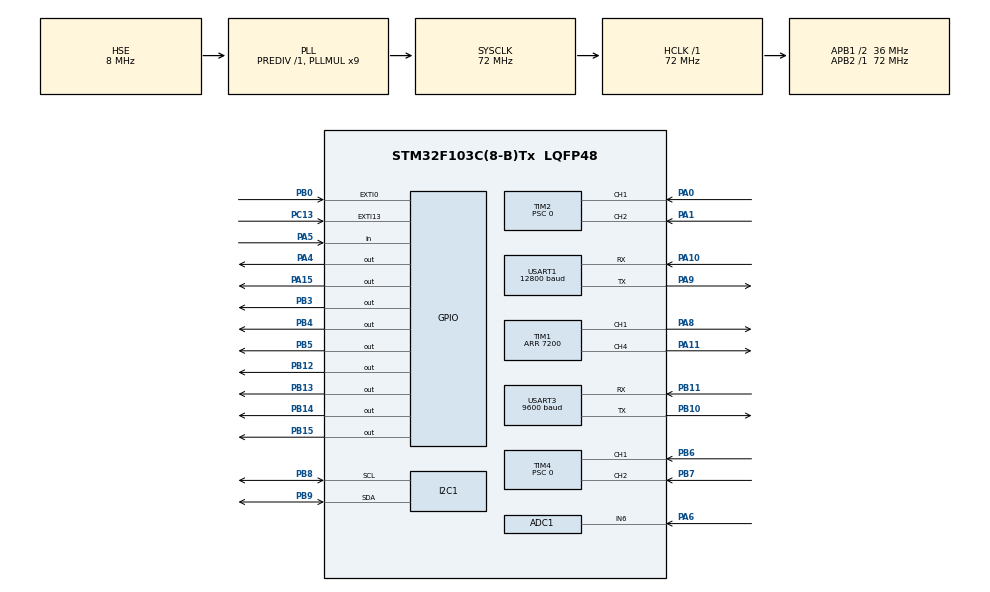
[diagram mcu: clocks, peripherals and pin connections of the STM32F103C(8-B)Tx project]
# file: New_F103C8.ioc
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ADC1.Channel-1\#ChannelRegularConversion=ADC_CHANNEL_6
ADC1.ContinuousConvMode=ENABLE
ADC1.NbrOfConversionFlag=1
ADC1.Rank-1\#ChannelRegularConversion=1
ADC1.SamplingTime-1\#ChannelRegularConversion=ADC_SAMPLETIME_239CYCLES_5
ADC1.master=1
FREERTOS.HEAP_NUMBER=4
FREERTOS.INCLUDE_vTaskDelayUntil=1
FREERTOS.Tasks01=defaultTask,0,128,StartDefaultTask,Default,NULL,Dynamic,NULL,NULL;TaskMain,0,512,task_main,Default,NULL,Dynamic,NULL,NULL;TaskLcd,-2,128,task_lcd,Default,NULL,Dynamic,NULL,NULL
FREERTOS.configGENERATE_RUN_TIME_STATS=1
FREERTOS.configMAX_TASK_NAME_LEN=32
FREERTOS.configMINIMAL_STACK_SIZE=64
FREERTOS.configTOTAL_HEAP_SIZE=5000
FREERTOS.configUSE_DAEMON_TASK_STARTUP_HOOK=1
FREERTOS.configUSE_IDLE_HOOK=1
FREERTOS.configUSE_MALLOC_FAILED_HOOK=1
FREERTOS.configUSE_STATS_FORMATTING_FUNCTIONS=1
FREERTOS.configUSE_TICKLESS_IDLE=2
FREERTOS.configUSE_TICK_HOOK=1
FREERTOS.configUSE_TIMERS=1
FREERTOS.configUSE_TRACE_FACILITY=1
I2C1.I2C_Mode=I2C_Standard
I2C1.OwnAddress=0x0
Mcu.Family=STM32F1
Mcu.Name=STM32F103C(8-B)Tx
Mcu.Package=LQFP48
NVIC.ADC1_2_IRQn=true\:5\:0\:false\:false\:true\:true\:true\:true
NVIC.EXTI0_IRQn=true\:0\:0\:false\:false\:true\:false\:true\:true
NVIC.EXTI15_10_IRQn=true\:5\:0\:false\:false\:true\:true\:true\:true
NVIC.PriorityGroup=NVIC_PRIORITYGROUP_4
NVIC.TIM2_IRQn=true\:5\:0\:false\:false\:true\:true\:true\:true
NVIC.TIM3_IRQn=true\:5\:0\:false\:false\:true\:true\:true\:true
NVIC.TIM4_IRQn=true\:5\:0\:false\:false\:true\:true\:true\:true
PA0-WKUP.Signal=S_TIM2_CH1_ETR
PA1.Signal=S_TIM2_CH2
PA10.Mode=Asynchronous
PA10.Signal=USART1_RX
PA11.GPIO_Speed=GPIO_SPEED_FREQ_HIGH
PA11.Signal=S_TIM1_CH4
PA13.Mode=Serial_Wire
PA13.Signal=SYS_JTMS-SWDIO
PA14.Mode=Serial_Wire
PA14.Signal=SYS_JTCK-SWCLK
PA15.Signal=GPIO_Output
PA4.GPIO_Speed=GPIO_SPEED_FREQ_HIGH
PA4.Signal=GPIO_Output
PA5.Signal=GPIO_Input
PA6.Signal=ADCx_IN6
PA8.GPIO_Speed=GPIO_SPEED_FREQ_HIGH
PA8.Signal=S_TIM1_CH1
PA9.Mode=Asynchronous
PA9.Signal=USART1_TX
PB0.Signal=GPXTI0
PB10.Mode=Asynchronous
PB10.Signal=USART3_TX
PB11.Mode=Asynchronous
PB11.Signal=USART3_RX
PB12.GPIO_Speed=GPIO_SPEED_FREQ_HIGH
PB12.Signal=GPIO_Output
PB13.GPIO_Speed=GPIO_SPEED_FREQ_HIGH
PB13.Signal=GPIO_Output
PB14.GPIO_Speed=GPIO_SPEED_FREQ_HIGH
PB14.Signal=GPIO_Output
PB15.GPIO_Speed=GPIO_SPEED_FREQ_HIGH
PB15.Signal=GPIO_Output
PB3.Signal=GPIO_Output
PB4.Signal=GPIO_Output
PB5.Signal=GPIO_Output
PB6.Signal=S_TIM4_CH1
PB7.Signal=S_TIM4_CH2
PB8.Mode=I2C
PB8.Signal=I2C1_SCL
PB9.Mode=I2C
PB9.Signal=I2C1_SDA
PC13-TAMPER-RTC.Signal=GPXTI13
PC14-OSC32_IN.Mode=LSE-External-Oscillator
PC14-OSC32_IN.Signal=RCC_OSC32_IN
PC15-OSC32_OUT.Mode=LSE-External-Oscillator
PC15-OSC32_OUT.Signal=RCC_OSC32_OUT
PD0-OSC_IN.Mode=HSE-External-Oscillator
PD0-OSC_IN.Signal=RCC_OSC_IN
PD1-OSC_OUT.Mode=HSE-External-Oscillator
PD1-OSC_OUT.Signal=RCC_OSC_OUT
ProjectManager.HeapSize=0x200
ProjectManager.StackSize=0x400
ProjectManager.TargetToolchain=MDK-ARM V5
RCC.AHBFreq_Value=72000000
RCC.APB1CLKDivider=RCC_HCLK_DIV2
RCC.APB1Freq_Value=36000000
RCC.APB1TimFreq_Value=72000000
RCC.APB2Freq_Value=72000000
RCC.APB2TimFreq_Value=72000000
RCC.HCLKFreq_Value=72000000
RCC.PLLMUL=RCC_PLL_MUL9
RCC.PLLSourceVirtual=RCC_PLLSOURCE_HSE
RCC.SYSCLKFreq_VALUE=72000000
RCC.SYSCLKSource=RCC_SYSCLKSOURCE_PLLCLK
RCC.USBFreq_Value=72000000
SH.ADCx_IN6.0=ADC1_IN6,IN6
SH.S_TIM1_CH1.0=TIM1_CH1,PWM Generation1 CH1
SH.S_TIM1_CH4.0=TIM1_CH4,PWM Generation4 CH4
SH.S_TIM2_CH1_ETR.0=TIM2_CH1,Encoder_Interface
SH.S_TIM2_CH2.0=TIM2_CH2,Encoder_Interface
SH.S_TIM4_CH1.0=TIM4_CH1,Encoder_Interface
SH.S_TIM4_CH2.0=TIM4_CH2,Encoder_Interface
TIM1.Channel-PWM\ Generation1\ CH1=TIM_CHANNEL_1
TIM1.Channel-PWM\ Generation4\ CH4=TIM_CHANNEL_4
TIM1.Period=7200
TIM1.Pulse-PWM\ Generation1\ CH1=100
TIM1.Pulse-PWM\ Generation4\ CH4=101
TIM2.EncoderMode=TIM_ENCODERMODE_TI12
TIM2.IC1Filter=15
TIM2.IC2Filter=15
TIM2.Period=0xffff
TIM2.Prescaler=0
TIM3.Period=4999
TIM3.Prescaler=71
TIM4.EncoderMode=TIM_ENCODERMODE_TI12
TIM4.IC1Filter=15
TIM4.IC2Filter=15
TIM4.Period=0xffff
TIM4.Prescaler=0
USART1.BaudRate=12800
USART1.VirtualMode=VM_ASYNC
USART3.BaudRate=9600
USART3.VirtualMode=VM_ASYNC
VP_FREERTOS_VS_CMSIS_V1.Mode=CMSIS_V1
VP_TIM1_VS_ClockSourceINT.Mode=Internal
VP_TIM3_VS_ClockSourceINT.Mode=Internal
board=custom

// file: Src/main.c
/* USER CODE BEGIN Header */
/**
  ******************************************************************************
  * @file           : main.c
  * @brief          : Main program body
  ******************************************************************************
  * @attention
  *
  * <h2><center>&copy; Copyright (c) 2019 STMicroelectronics.
  * All rights reserved.</center></h2>
  *
  * This software component is licensed by ST under BSD 3-Clause license,
  * the "License"; You may not use this file except in compliance with the
  * License. You may obtain a copy of the License at:
  *                        opensource.org/licenses/BSD-3-Clause
  *
  ******************************************************************************
  */
/* USER CODE END Header */

#include "main.h"
#include "cmsis_os.h"
#include "adc.h"
#include "i2c.h"
#include "tim.h"
#include "usart.h"
#include "gpio.h"

/* USER CODE BEGIN Includes */
#include "test.h"

/* USER CODE END Includes */

void SystemClock_Config(void);
void MX_FREERTOS_Init(void);

/* USER CODE BEGIN 0 */

#define delay_ms    HAL_Delay

TYPE_MPU6050 gMpu = {0};

/* USER CODE END 0 */

int main(void)
{

  /* MCU Configuration--------------------------------------------------------*/

  /* Reset of all peripherals, Initializes the Flash interface and the Systick. */
  HAL_Init();

  /* Configure the system clock */
  SystemClock_Config();

  /* Initialize all configured peripherals */
  MX_GPIO_Init();
  MX_TIM4_Init();
  MX_TIM1_Init();
  MX_TIM2_Init();
  MX_TIM3_Init();
  MX_USART1_UART_Init();
  MX_USART3_UART_Init();
  MX_ADC1_Init();
  MX_I2C1_Init();
  /* USER CODE BEGIN 2 */

    HAL_TIM_Base_Start_IT(&htim3);
    HAL_TIM_IC_Start_IT(&htim2, TIM_CHANNEL_1);
    HAL_TIM_IC_Start_IT(&htim2, TIM_CHANNEL_2);

    HAL_TIM_IC_Start_IT(&htim4, TIM_CHANNEL_1);
    HAL_TIM_IC_Start_IT(&htim4, TIM_CHANNEL_2);

    moto_dir_ctrl(1, 1);

    pid_init(&pid_l, -40, -0.4, 0, 10000);
    pid_init(&pid_r, -40, -0.4, 0, 10000);
    pid_init(&pid_balance, 750 *0.6, 0, 550*0.6, 0);

    OLED_Init();
    OLED_ShowString(0, 0, (const uint8_t *)"  HELLO WORLD!  ");
    OLED_Refresh_Gram();

    MPU_Init();					//初始化MPU6050

	HAL_ADC_Start_IT(&hadc1);

  /* USER CODE END 2 */

  /* Call init function for freertos objects (in freertos.c) */
  MX_FREERTOS_Init();
  /* Start scheduler */
  osKernelStart();

  /* We should never get here as control is now taken by the scheduler */
  /* Infinite loop */
    while (1)
    {

    }
}

void SystemClock_Config(void)
{
  RCC_OscInitTypeDef RCC_OscInitStruct = {0};
  RCC_ClkInitTypeDef RCC_ClkInitStruct = {0};
  RCC_PeriphCLKInitTypeDef PeriphClkInit = {0};

  /** Initializes the CPU, AHB and APB busses clocks
  */
  RCC_OscInitStruct.OscillatorType = RCC_OSCILLATORTYPE_HSE;
  RCC_OscInitStruct.HSEState = RCC_HSE_ON;
  RCC_OscInitStruct.HSEPredivValue = RCC_HSE_PREDIV_DIV1;
  RCC_OscInitStruct.HSIState = RCC_HSI_ON;
  RCC_OscInitStruct.PLL.PLLState = RCC_PLL_ON;
  RCC_OscInitStruct.PLL.PLLSource = RCC_PLLSOURCE_HSE;
  RCC_OscInitStruct.PLL.PLLMUL = RCC_PLL_MUL9;
  if (HAL_RCC_OscConfig(&RCC_OscInitStruct) != HAL_OK)
  {
    Error_Handler();
  }
  /** Initializes the CPU, AHB and APB busses clocks
  */
  RCC_ClkInitStruct.ClockType = RCC_CLOCKTYPE_HCLK|RCC_CLOCKTYPE_SYSCLK
                              |RCC_CLOCKTYPE_PCLK1|RCC_CLOCKTYPE_PCLK2;
  RCC_ClkInitStruct.SYSCLKSource = RCC_SYSCLKSOURCE_PLLCLK;
  RCC_ClkInitStruct.AHBCLKDivider = RCC_SYSCLK_DIV1;
  RCC_ClkInitStruct.APB1CLKDivider = RCC_HCLK_DIV2;
  RCC_ClkInitStruct.APB2CLKDivider = RCC_HCLK_DIV1;

  if (HAL_RCC_ClockConfig(&RCC_ClkInitStruct, FLASH_LATENCY_2) != HAL_OK)
  {
    Error_Handler();
  }
  PeriphClkInit.PeriphClockSelection = RCC_PERIPHCLK_ADC;
  PeriphClkInit.AdcClockSelection = RCC_ADCPCLK2_DIV2;
  if (HAL_RCCEx_PeriphCLKConfig(&PeriphClkInit) != HAL_OK)
  {
    Error_Handler();
  }
}

void Error_Handler(void)
{
}

/************************ (C) COPYRIGHT STMicroelectronics *****END OF FILE****/

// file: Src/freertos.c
/* USER CODE BEGIN Header */
/**
  ******************************************************************************
  * File Name          : freertos.c
  * Description        : Code for freertos applications
  ******************************************************************************
  * @attention
  *
  * <h2><center>&copy; Copyright (c) 2019 STMicroelectronics.
  * All rights reserved.</center></h2>
  *
  * This software component is licensed by ST under Ultimate Liberty license
  * SLA0044, the "License"; You may not use this file except in compliance with
  * the License. You may obtain a copy of the License at:
  *                             www.st.com/SLA0044
  *
  ******************************************************************************
  */
/* USER CODE END Header */

#include "FreeRTOS.h"
#include "task.h"
#include "main.h"
#include "cmsis_os.h"

osThreadId defaultTaskHandle;
osThreadId TaskMainHandle;
osThreadId TaskLcdHandle;

/* USER CODE BEGIN FunctionPrototypes */
uint32_t task_main_cnt = 0;

uint8_t key_cnt = 0;
uint8_t key_flag = 0;

/* USER CODE END FunctionPrototypes */

void StartDefaultTask(void const * argument);
void task_main(void const * argument);
void task_lcd(void const * argument);

void MX_FREERTOS_Init(void); /* (MISRA C 2004 rule 8.1) */

/* GetIdleTaskMemory prototype (linked to static allocation support) */
void vApplicationGetIdleTaskMemory( StaticTask_t **ppxIdleTaskTCBBuffer, StackType_t **ppxIdleTaskStackBuffer, uint32_t *pulIdleTaskStackSize );

/* GetTimerTaskMemory prototype (linked to static allocation support) */
void vApplicationGetTimerTaskMemory( StaticTask_t **ppxTimerTaskTCBBuffer, StackType_t **ppxTimerTaskStackBuffer, uint32_t *pulTimerTaskStackSize );

/* Hook prototypes */
void configureTimerForRunTimeStats(void);
unsigned long getRunTimeCounterValue(void);
void vApplicationIdleHook(void);
void vApplicationTickHook(void);
void vApplicationMallocFailedHook(void);
void vApplicationDaemonTaskStartupHook(void);

/* USER CODE BEGIN 1 */
/* Functions needed when configGENERATE_RUN_TIME_STATS is on */
__weak void configureTimerForRunTimeStats(void)
{

}

__weak unsigned long getRunTimeCounterValue(void)
{
    return 0;
}
/* USER CODE END 1 */

/* USER CODE BEGIN 2 */
__weak void vApplicationIdleHook( void )
{

    /* vApplicationIdleHook() will only be called if configUSE_IDLE_HOOK is set
    to 1 in FreeRTOSConfig.h. It will be called on each iteration of the idle
    task. It is essential that code added to this hook function never attempts
    to block in any way (for example, call xQueueReceive() with a block time
    specified, or call vTaskDelay()). If the application makes use of the
    vTaskDelete() API function (as this demo application does) then it is also
    important that vApplicationIdleHook() is permitted to return to its calling
    function, because it is the responsibility of the idle task to clean up
    memory allocated by the kernel to any task that has since been deleted. */
}
/* USER CODE END 2 */

/* USER CODE BEGIN 3 */
__weak void vApplicationTickHook( void )
{
    /* This function will be called by each tick interrupt if
    configUSE_TICK_HOOK is set to 1 in FreeRTOSConfig.h. User code can be
    added here, but the tick hook is called from an interrupt context, so
    code must not attempt to block, and only the interrupt safe FreeRTOS API
    functions can be used (those that end in FromISR()). */
}
/* USER CODE END 3 */

/* USER CODE BEGIN 5 */
__weak void vApplicationMallocFailedHook(void)
{
    /* vApplicationMallocFailedHook() will only be called if
    configUSE_MALLOC_FAILED_HOOK is set to 1 in FreeRTOSConfig.h. It is a hook
    function that will get called if a call to pvPortMalloc() fails.
    pvPortMalloc() is called internally by the kernel whenever a task, queue,
    timer or semaphore is created. It is also called by various parts of the
    demo application. If heap_1.c or heap_2.c are used, then the size of the
    heap available to pvPortMalloc() is defined by configTOTAL_HEAP_SIZE in
    FreeRTOSConfig.h, and the xPortGetFreeHeapSize() API function can be used
    to query the size of free heap space that remains (although it does not
    provide information on how the remaining heap might be fragmented). */
}
/* USER CODE END 5 */

/* USER CODE BEGIN DAEMON_TASK_STARTUP_HOOK */
void vApplicationDaemonTaskStartupHook(void)
{
}
/* USER CODE END DAEMON_TASK_STARTUP_HOOK */

/* USER CODE BEGIN VPORT_SUPPORT_TICKS_AND_SLEEP */
__weak void vPortSuppressTicksAndSleep( TickType_t xExpectedIdleTime )
{
    // Generated when configUSE_TICKLESS_IDLE == 2.
    // Function called in tasks.c (in portTASK_FUNCTION).
    // TO BE COMPLETED or TO BE REPLACED by a user one, overriding that weak one.
}
/* USER CODE END VPORT_SUPPORT_TICKS_AND_SLEEP */

/* USER CODE BEGIN GET_IDLE_TASK_MEMORY */
static StaticTask_t xIdleTaskTCBBuffer;
static StackType_t xIdleStack[configMINIMAL_STACK_SIZE];

void vApplicationGetIdleTaskMemory( StaticTask_t **ppxIdleTaskTCBBuffer, StackType_t **ppxIdleTaskStackBuffer, uint32_t *pulIdleTaskStackSize )
{
    *ppxIdleTaskTCBBuffer = &xIdleTaskTCBBuffer;
    *ppxIdleTaskStackBuffer = &xIdleStack[0];
    *pulIdleTaskStackSize = configMINIMAL_STACK_SIZE;
    /* place for user code */
}
/* USER CODE END GET_IDLE_TASK_MEMORY */

/* USER CODE BEGIN GET_TIMER_TASK_MEMORY */
static StaticTask_t xTimerTaskTCBBuffer;
static StackType_t xTimerStack[configTIMER_TASK_STACK_DEPTH];

void vApplicationGetTimerTaskMemory( StaticTask_t **ppxTimerTaskTCBBuffer, StackType_t **ppxTimerTaskStackBuffer, uint32_t *pulTimerTaskStackSize )
{
    *ppxTimerTaskTCBBuffer = &xTimerTaskTCBBuffer;
    *ppxTimerTaskStackBuffer = &xTimerStack[0];
    *pulTimerTaskStackSize = configTIMER_TASK_STACK_DEPTH;
    /* place for user code */
}
/* USER CODE END GET_TIMER_TASK_MEMORY */

void MX_FREERTOS_Init(void) {

  /* Create the thread(s) */
  /* definition and creation of defaultTask */
  osThreadDef(defaultTask, StartDefaultTask, osPriorityNormal, 0, 128);
  defaultTaskHandle = osThreadCreate(osThread(defaultTask), NULL);

  /* definition and creation of TaskMain */
  osThreadDef(TaskMain, task_main, osPriorityNormal, 0, 512);
  TaskMainHandle = osThreadCreate(osThread(TaskMain), NULL);

  /* definition and creation of TaskLcd */
  osThreadDef(TaskLcd, task_lcd, osPriorityLow, 0, 128);
  TaskLcdHandle = osThreadCreate(osThread(TaskLcd), NULL);

}

void StartDefaultTask(void const * argument)
{
  /* USER CODE BEGIN StartDefaultTask */
    /* Infinite loop */
    for(;;)
    {
        osDelay(1000);
    }
  /* USER CODE END StartDefaultTask */
}

void task_main(void const * argument)
{
  /* USER CODE BEGIN task_main */
    short Gyro_X;
    short Gyro_Y;
    short Gyro_Z;

    int pwm_offset = 420;	//电机死区

    /* Infinite loop */
    for(;;)
    {

        task_main_cnt++;

		if(HAL_GPIO_ReadPin(GPIOA, GPIO_PIN_5) == 0)
		{
			key_cnt++;
			if(key_cnt == 10)
			{
				key_flag = !key_flag;

				 moto_set_pwm_cnt(LEFT, 0);
				 moto_set_pwm_cnt(RIGHT, 0);
			}
		}
		else
		{
			key_cnt = 0;
		}

        if(task_main_cnt % 2 == 0)
        {
            moto_get_speed(LEFT);
            moto_get_speed(RIGHT);
        }

        //读取陀螺仪数据
        //if(mpu_dmp_get_data(&gMpu.euler.pitch, &gMpu.euler.roll, &gMpu.euler.yaw) == 0)
        {
            gMpu.temp = mpu_get_temp() / 100.0;		//得到温度值
            mpu_get_acc(&gMpu.accel.x, &gMpu.accel.y, &gMpu.accel.z);	//得到加速度传感器数据
            mpu_get_gyro(&Gyro_X, &Gyro_Y, &Gyro_Z);		//得到陀螺仪数据

            gMpu.gyro.x = Gyro_X;
            gMpu.gyro.y = Gyro_Y;
            gMpu.gyro.z = Gyro_Z;

            //获得倾角
            get_angle(3);
            //PWM清零
            gMotor_r.pwm_cnt = 0;
            gMotor_l.pwm_cnt = 0;

            //平衡环
            balance_ctrl(gMpu.balance_angle, (gMpu.gyro.x/16));

            //速度环
            speed_ctrl();

            //确定转动方向

            if(gMotor_r.pwm_cnt > 0)
            {
                gMotor_r.direction = 1;
                gMotor_l.direction = 1;

                gMotor_r.pwm_cnt += pwm_offset;//电机死区
                gMotor_l.pwm_cnt += pwm_offset;

                //设置方向
                moto_dir_ctrl(gMotor_l.direction, gMotor_r.direction);

            }
            else
            {
                gMotor_r.direction = 0;
                gMotor_l.direction = 0;

                //设置方向
                moto_dir_ctrl(gMotor_l.direction, gMotor_r.direction);

                //转换为正值
                gMotor_l.pwm_cnt = -gMotor_l.pwm_cnt;
                gMotor_r.pwm_cnt = -gMotor_r.pwm_cnt;

                gMotor_r.pwm_cnt += pwm_offset;
                gMotor_l.pwm_cnt += pwm_offset;
            }

            //消除电机左右摩擦力不同
            //gMotor_l.pwm_cnt = 1.05 * gMotor_r.pwm_cnt;

            //PWM限幅
            if(gMotor_l.pwm_cnt > 7000)
            {
                gMotor_l.pwm_cnt = 7000;
            }

            if(gMotor_r.pwm_cnt > 7000)
            {
                gMotor_r.pwm_cnt = 7000;
            }

            //倾角过大关闭电机
            //if(gMpu.euler.roll > 40)
			if(gMpu.balance_angle > 40)
            {
                gMotor_l.pwm_cnt = 0;
                gMotor_r.pwm_cnt = 0;

                pid_l.ei = 0;
                pid_r.ei = 0;
            }
            //if(gMpu.euler.roll < -40)
			if(gMpu.balance_angle < -40)
            {
                gMotor_l.pwm_cnt = 0;
                gMotor_r.pwm_cnt = 0;

                pid_l.ei = 0;
                pid_r.ei = 0;
            }

            //刚开机数据不稳，不刷新PWM数据
            if(key_flag == 1)
            {
                if(gMotor_l.pwm_old_cnt != gMotor_l.pwm_cnt)
                {
                    gMotor_l.pwm_old_cnt = gMotor_l.pwm_cnt;
                    moto_set_pwm_cnt(LEFT, gMotor_l.pwm_cnt>>0);
                }
                if(gMotor_r.pwm_old_cnt != gMotor_r.pwm_cnt)
                {
                    gMotor_r.pwm_old_cnt = gMotor_r.pwm_cnt;
                    moto_set_pwm_cnt(RIGHT, gMotor_r.pwm_cnt>>0);
                }
            }

        }

        osDelay(9);
    }
  /* USER CODE END task_main */
}

/* USER CODE BEGIN Header_task_lcd */
/**
* @brief Function implementing the TaskLcd thread.
* @param argument: Not used
* @retval None
*/

uint8_t adc_ok_flag = 0;
uint32_t adc_val[30] = {0};
uint32_t adc_cnt = 0;
uint32_t battery_adc = 0;
uint32_t battery_v = 0;
/* USER CODE END Header_task_lcd */
void task_lcd(void const * argument)
{
  /* USER CODE BEGIN task_lcd */
    uint8_t show_buff[40] = {0};
    uint32_t i = 0;
    uint16_t usage = 0.0;

    /* Infinite loop */
    for(;;)
    {

        if(adc_ok_flag == 1)
        {
            battery_adc = get_average_uint(adc_val, 30);
            battery_v = battery_adc * 3300 * 11 / 4096;
            sprintf((char*)show_buff, "Battery_V:%2d.%3d", battery_v / 1000, battery_v % 1000);
            OLED_ShowString(0, 48, show_buff);

            adc_ok_flag = 0;
        }

        sprintf((char*)show_buff, "PITCH:%03.2f", gMpu.balance_angle);
        OLED_ShowString(0, 12, show_buff);
        sprintf((char*)show_buff, "V_L:%-3d ", gMotor_l.speed_get);
        OLED_ShowString(0, 24, show_buff);
        sprintf((char*)show_buff, "V_R:%-3d ", gMotor_r.speed_get);
        OLED_ShowString(64, 24, show_buff);

        usage = osGetCPUUsage();
        sprintf((char*)show_buff, "CPU:%3d%%", usage);
        OLED_ShowString(0, 36, show_buff);

        OLED_Refresh_Gram();
        i++;
        if(i >= 2)
        {
            i = 0;
            HAL_GPIO_TogglePin(GPIOA, GPIO_PIN_4);
        }

        osDelay(50);
    }
  /* USER CODE END task_lcd */
}

/************************ (C) COPYRIGHT STMicroelectronics *****END OF FILE****/
